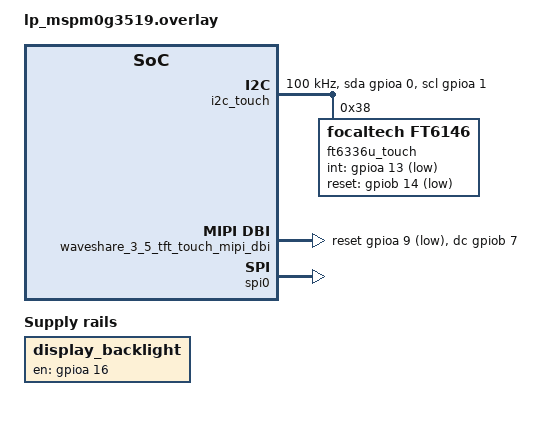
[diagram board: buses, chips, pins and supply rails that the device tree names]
/*
 * Copyright (c) 2026 Texas Instruments
 *
 * SPDX-License-Identifier: Apache-2.0
 */

#include <zephyr/dt-bindings/i2c/i2c.h>

&waveshare_3_5_tft_touch_mipi_dbi {
	dc-gpios    = <&gpiob 7 GPIO_ACTIVE_HIGH>;
	reset-gpios = <&gpioa 9 GPIO_ACTIVE_LOW>;
	spi-dev     = <&spi0>;
};

/ {
	display_backlight: display-backlight {
		compatible = "regulator-fixed";
		regulator-name = "display-backlight";
		enable-gpios = <&gpioa 16 GPIO_ACTIVE_HIGH>;
		regulator-boot-on;
	};

	i2c_touch: i2c_gpio {
		compatible = "gpio-i2c";
		sda-gpios = <&gpioa 0 (GPIO_ACTIVE_HIGH | GPIO_OPEN_DRAIN)>;
		scl-gpios = <&gpioa 1 (GPIO_ACTIVE_HIGH | GPIO_OPEN_DRAIN)>;
		clock-frequency = <I2C_BITRATE_STANDARD>;
		#address-cells = <1>;
		#size-cells = <0>;

		ft6336u_touch: ft6336u@38 {
			compatible = "focaltech,ft6146";
			reg = <0x38>;
			int-gpios   = <&gpioa 13 GPIO_ACTIVE_LOW>;
			reset-gpios = <&gpiob 14 GPIO_ACTIVE_LOW>;
			screen-width  = <480>;
			screen-height = <320>;
		};
	};
};

&spi0 {
	status = "okay";
};

&flash0 {
	reg = <0x0 DT_SIZE_K(512)>;
};

&sram1 {
	compatible = "zephyr,memory-region", "mmio-sram";
	zephyr,memory-region = "LVGL_BUF";
};
